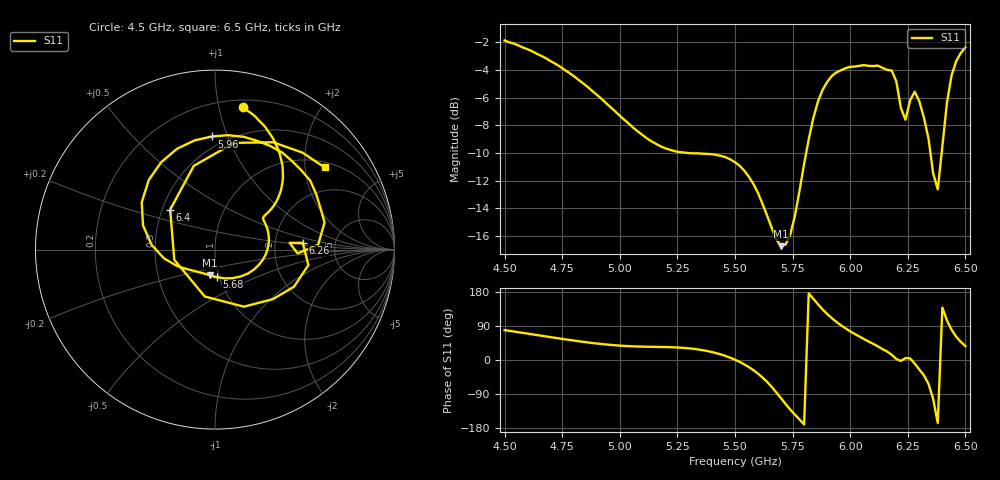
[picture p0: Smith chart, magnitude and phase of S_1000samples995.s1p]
! TOUCHSTONE file generated by CST MICROWAVE STUDIO
! Date and time: Sun Oct 30 01:00:58 2022
! Project name: L.cst
! Parameters = {Di=1.27; Epsilon_r=1.56; InnerDiameter=1.27; Length=2; Lf=10; Lg=60; OuterConductorThickness=0.2921; OuterDiameter=3.6; Wf=3; Wp=41.2; de=1.5; df=6.8; g=0.8; gx=1.45767; gy=3.49063; h=2.34; hf=1.524; px=12.9661; py=10.8862; w=9.7; wx=11.5084; wy=7.39556}
! Header version: 2018
! Port assignment regex: !\s*Touchstone port\s*([0-9]+)\s*=\s*(CST MWS port|CST DS port)\s*([0-9]+|Zmin|Zmax)\s*\(\"(.*)\"\)(\s*mode\s*([0-9]+))?.*
! Touchstone port assignment:
! Touchstone port 1 = CST MWS port 1 ("")
# GHz S DB R 50
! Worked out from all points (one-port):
!   101 points, 4.5 GHz to 6.5 GHz, reference 50 ohm
!   lowest |S11| = -16.7 dB at 5.7 GHz (marker M1), VSWR 1.34, Z = 45.4 - j13.3 ohm
!   |S11| at or under -10 dB: 5.298 GHz to 5.809 GHz (510.5 MHz wide, 9.19 % of centre); 6.348 GHz to 6.397 GHz (48.54 MHz wide, 0.762 % of centre)
!   S11 on the Smith chart (normalised r, x): 4.5 GHz: 0.26, +1.19; 5.68 GHz: 0.97, -0.31; 5.96 GHz: 0.42, +0.88; 6.26 GHz: 2.90, +0.28; 6.4 GHz: 0.55, +0.28; 6.5 GHz: 1.16, +2.54
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4.5  -1.85 78.7
4.76  -3.98 54.8
5  -7.30 37.9
5.26  -9.93 32.7
5.5  -10.67 0.8
5.58  -12.24 -26.8
5.68  -16.26 -86.0
5.7  -16.73 -101.1
5.76  -14.54 -144.1
5.8  -10.79 -170.4
5.86  -6.27 147.1
5.92  -4.43 110.6
5.96  -4.01 91.6
6  -3.76 75.7
6.14  -3.84 28.8
6.18  -4.03 14.0
6.22  -6.73 -2.6
6.24  -7.59 5.2
6.26  -6.18 4.4
6.28  -5.56 -9.4
6.3  -6.26 -25.1
6.34  -8.96 -63.1
6.36  -11.46 -102.4
6.38  -12.62 -166.1
6.4  -9.51 138.3
6.42  -6.35 104.2
6.44  -4.38 79.9
6.5  -2.34 36.8
